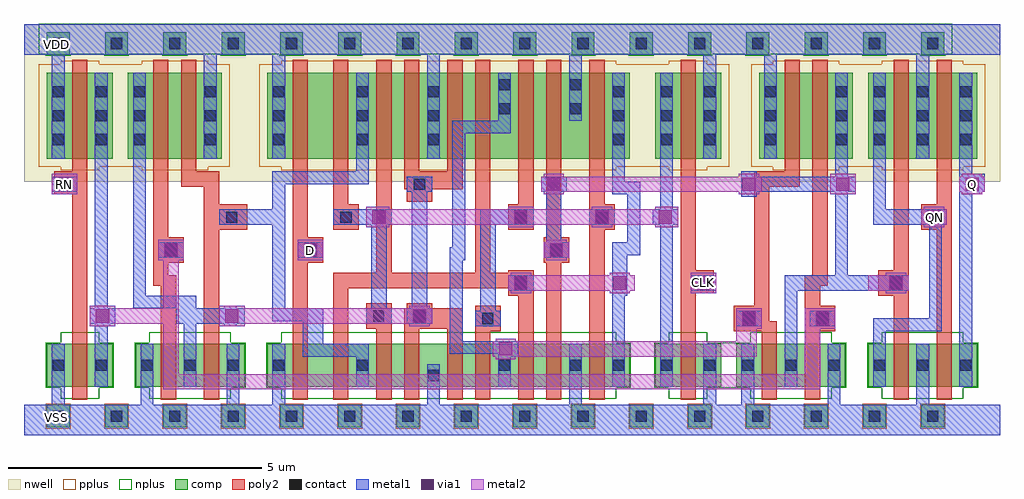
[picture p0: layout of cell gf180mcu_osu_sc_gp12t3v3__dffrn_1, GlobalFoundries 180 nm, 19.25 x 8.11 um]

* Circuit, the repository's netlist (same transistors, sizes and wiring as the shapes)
* Copyright 2022 Google LLC
*
* Licensed under the Apache License, Version 2.0 (the "License");
* you may not use this file except in compliance with the License.
* You may obtain a copy of the License at
*
*      http://www.apache.org/licenses/LICENSE-2.0
*
* Unless required by applicable law or agreed to in writing, software
* distributed under the License is distributed on an "AS IS" BASIS,
* WITHOUT WARRANTIES OR CONDITIONS OF ANY KIND, either express or implied.
* See the License for the specific language governing permissions and
* limitations under the License.

.inc "/import/yukari1/lrburle/OSU_180/char/techfiles/design.hspice"
.lib "/import/yukari1/lrburle/OSU_180/char/techfiles/sm141064.hspice" typical

.GLOBAL VDD
.GLOBAL VSS

.option scale=0.05u

.subckt gf180mcu_osu_sc_gp12t3v3__dffrn_1 D RN Q QN CLK
X0 VDD a_41_109 a_145_109 VDD pmos_3p3 w=34 l=6
X1 a_173_109 a_41_109 VDD VDD pmos_3p3 w=34 l=6
X2 a_122_14 a_122_81 VDD VDD pmos_3p3 w=34 l=6
X3 a_122_14 a_122_81 VSS VSS nmos_3p3 w=17 l=6
X4 VDD a_205_68 a_201_109 VDD pmos_3p3 w=34 l=6
X5 VSS a_205_68 QN VSS nmos_3p3 w=17 l=6
X6 a_62_98 a_122_81 a_112_109 VDD pmos_3p3 w=34 l=6
X7 a_145_109 a_122_14 a_62_98 VDD pmos_3p3 w=34 l=6
X8 Q QN VDD VDD pmos_3p3 w=34 l=6
X9 VDD a_205_68 QN VDD pmos_3p3 w=34 l=6
X10 a_145_19 a_122_81 a_62_98 VSS nmos_3p3 w=17 l=6
X11 VSS a_25_19 a_205_68 VSS nmos_3p3 w=17 l=6
X12 a_25_19 RN VDD VDD pmos_3p3 w=34 l=6
X13 a_41_109 a_25_19 VSS VSS nmos_3p3 w=17 l=6
X14 a_62_98 a_122_14 a_112_19 VSS nmos_3p3 w=17 l=6
X15 VDD CLK a_122_81 VDD pmos_3p3 w=34 l=6
X16 VSS CLK a_122_81 VSS nmos_3p3 w=17 l=6
X17 a_205_68 a_184_19 VSS VSS nmos_3p3 w=17 l=6
X18 a_112_109 D VDD VDD pmos_3p3 w=34 l=6
X19 a_25_19 RN VSS VSS nmos_3p3 w=17 l=6
X20 a_201_19 a_122_14 a_184_19 VSS nmos_3p3 w=17 l=6
X21 VSS a_205_68 a_201_19 VSS nmos_3p3 w=17 l=6
X22 Q QN VSS VSS nmos_3p3 w=17 l=6
X23 a_205_68 a_25_19 a_306_109 VDD pmos_3p3 w=34 l=6
X24 a_306_109 a_184_19 VDD VDD pmos_3p3 w=34 l=6
X25 VSS a_62_98 a_41_109 VSS nmos_3p3 w=17 l=6
X26 VDD a_62_98 a_57_109 VDD pmos_3p3 w=34 l=6
X27 a_112_19 D VSS VSS nmos_3p3 w=17 l=6
X28 a_57_109 a_25_19 a_41_109 VDD pmos_3p3 w=34 l=6
X29 a_173_19 a_41_109 VSS VSS nmos_3p3 w=17 l=6
X30 a_201_109 a_122_81 a_184_19 VDD pmos_3p3 w=34 l=6
X31 a_184_19 a_122_14 a_173_109 VDD pmos_3p3 w=34 l=6
X32 VSS a_41_109 a_145_19 VSS nmos_3p3 w=17 l=6
X33 a_184_19 a_122_81 a_173_19 VSS nmos_3p3 w=17 l=6
.ends

** hspice subcircuit dictionary

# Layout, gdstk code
import gdstk
lib = gdstk.Library(unit=1e-6, precision=1e-09)
def R(c, l, rs):  # rectangles x0, y0, x1, y1
    for r in rs: c.add(gdstk.rectangle(r[:2], r[2:], *l))
def A(c, l, x, y, w, h, nx, ny, dx, dy):  # array of equal rectangles
    R(c, l, [(x+i*dx, y+j*dy, x+i*dx+w, y+j*dy+h) for i in range(nx) for j in range(ny)])
nwell = (21, 0)
comp = (22, 0)
poly2 = (30, 0)
pplus = (31, 0)
nplus = (32, 0)
contact = (33, 0)
metal1 = (34, 0)
via1 = (35, 0)
metal2 = (36, 0)

gf180mcu_osu_sc_gp12t3v3 = lib.new_cell('gf180mcu_osu_sc_gp12t3v3__dffrn_1')
R(gf180mcu_osu_sc_gp12t3v3, nwell, [(0,5,19.25,8.1)])
A(gf180mcu_osu_sc_gp12t3v3, comp, 0.45, 0.15, 0.45, 0.45, 16, 2, 1.15, 7.35)
R(gf180mcu_osu_sc_gp12t3v3, comp, [(0.45,0.95,1.75,1.8), (2.2,0.95,4.35,1.8), (4.8,0.95,11.95,1.8), (12.45,0.95,13.75,1.8), (14.05,0.95,16.2,1.8), (16.65,0.95,18.8,1.8), (0.45,5.45,1.75,7.15), (2.05,5.45,3.9,7.15), (4.8,5.45,11.95,7.15), (12.45,5.45,13.75,7.15), (14.5,5.45,16.35,7.15), (16.65,5.45,18.8,7.15)])
R(gf180mcu_osu_sc_gp12t3v3, poly2, [(0.95,0.7,1.25,4.75), (2.7,0.7,3,2.95), (3.55,0.7,3.85,4.05), (5.3,0.7,5.6,3.4), (6.1,0.7,6.4,2.9), (6.95,0.7,7.25,2.1), (7.5,0.7,7.8,2.1), (8.35,0.7,8.65,2.1), (8.9,0.7,9.2,2.05), (9.75,0.7,10.05,2.75), (10.3,0.7,10.6,3.4), (11.15,0.7,11.45,4.05), (12.95,0.7,13.25,2.8), (14.55,0.7,14.85,2.05), (15.4,0.7,15.7,2.05), (17.15,0.7,17.45,2.75), (18,0.7,18.3,4.05), (8.9,2.05,9.4,2.55), (14,2.05,14.85,2.25), (15.4,2.05,16,2.55), (6.75,2.1,7.25,2.6), (7.5,2.1,8.65,2.5), (14,2.25,14.7,2.55), (7.55,2.5,8.05,2.6), (14.4,2.55,14.7,4.9), (15.4,2.55,15.7,2.95), (9.55,2.75,10.05,2.9), (16.85,2.75,17.45,3.25), (12.95,2.8,13.6,3.25), (6.1,2.9,10.05,3.2), (2.55,2.95,3,3.15), (15.4,2.95,15.85,3.15), (2.55,3.15,2.85,3.4), (15.55,3.15,15.85,7.4), (6.95,3.2,7.25,7.4), (8.9,3.2,9.2,7.4), (9.55,3.2,10.05,3.25), (12.95,3.25,13.25,7.4), (17.15,3.25,17.45,7.4), (2.55,3.4,3.15,3.9), (5.3,3.4,5.9,3.9), (10.25,3.4,10.75,3.9), (2.55,3.9,2.85,7.4), (5.3,3.9,5.6,7.4), (10.3,3.9,10.6,7.4), (3.55,4.05,4.4,4.55), (6.1,4.05,6.6,4.55), (9.55,4.05,10.05,4.55), (11.15,4.05,11.65,4.55), (17.7,4.05,18.3,4.55), (3.55,4.55,3.85,4.9), (6.1,4.55,6.4,7.4), (9.75,4.55,10.05,7.4), (11.15,4.55,11.45,7.4), (18,4.55,18.3,7.4), (7.55,4.6,8.05,4.85), (0.6,4.75,1.25,5.2), (7.5,4.85,8.65,5.2), (3.1,4.9,3.85,5.2), (14.4,4.9,15.3,5.2), (0.95,5.2,1.25,7.4), (3.1,5.2,3.4,7.4), (7.5,5.2,7.8,7.4), (8.35,5.2,8.65,7.4), (15,5.2,15.3,7.4)])
A(gf180mcu_osu_sc_gp12t3v3, pplus, 0.43, 0.13, 0.49, 0.49, 16, 1, 1.15, 0)
R(gf180mcu_osu_sc_gp12t3v3, pplus, [(0.72,5.22,1.48,5.29), (2.32,5.22,3.63,5.29), (5.07,5.22,11.68,5.29), (12.72,5.22,13.48,5.29), (14.77,5.22,16.08,5.29), (16.92,5.22,18.53,5.29), (0.29,5.29,4.06,7.31), (4.64,5.29,13.91,7.31), (14.34,5.29,18.96,7.31), (0.72,7.31,1.48,7.38), (2.32,7.31,3.63,7.38), (5.07,7.31,11.68,7.38), (12.72,7.31,13.48,7.38), (14.77,7.31,16.08,7.38), (16.92,7.31,18.53,7.38)])
A(gf180mcu_osu_sc_gp12t3v3, nplus, 0.43, 7.48, 0.49, 0.03, 16, 1, 1.15, 0)
R(gf180mcu_osu_sc_gp12t3v3, nplus, [(0.72,0.72,1.48,0.93), (2.47,0.72,4.08,0.93), (5.07,0.72,11.68,0.93), (12.72,0.72,13.48,0.93), (14.32,0.72,15.93,0.93), (16.92,0.72,18.53,0.93), (0.43,0.93,1.77,1.82), (2.18,0.93,4.37,1.82), (4.78,0.93,11.97,1.82), (12.43,0.93,16.22,1.82), (16.63,0.93,18.82,1.82), (0.72,1.82,1.48,2.03), (2.47,1.82,4.08,2.03), (5.07,1.82,11.68,2.03), (12.72,1.82,13.48,2.03), (14.32,1.82,15.93,2.03), (16.92,1.82,18.53,2.03), (0.29,7.51,18.31,8.11)])
A(gf180mcu_osu_sc_gp12t3v3, contact, 0.565, 0.265, 0.22, 0.22, 16, 2, 1.15, 7.35)
A(gf180mcu_osu_sc_gp12t3v3, contact, 2.315, 1.265, 0.22, 0.22, 3, 1, 0.85, 0)
A(gf180mcu_osu_sc_gp12t3v3, contact, 14.165, 1.265, 0.22, 0.22, 3, 1, 0.85, 0)
A(gf180mcu_osu_sc_gp12t3v3, contact, 16.765, 1.265, 0.22, 0.22, 3, 2, 0.85, 4.455)
A(gf180mcu_osu_sc_gp12t3v3, contact, 0.565, 5.72, 0.22, 0.22, 1, 3, 0, 0.47)
A(gf180mcu_osu_sc_gp12t3v3, contact, 1.415, 5.72, 0.22, 0.22, 1, 3, 0, 0.47)
A(gf180mcu_osu_sc_gp12t3v3, contact, 2.165, 5.72, 0.22, 0.22, 1, 3, 0, 0.47)
A(gf180mcu_osu_sc_gp12t3v3, contact, 3.565, 5.72, 0.22, 0.22, 1, 3, 0, 0.47)
A(gf180mcu_osu_sc_gp12t3v3, contact, 4.915, 5.72, 0.22, 0.22, 1, 3, 0, 0.47)
A(gf180mcu_osu_sc_gp12t3v3, contact, 6.565, 5.72, 0.22, 0.22, 1, 3, 0, 0.47)
A(gf180mcu_osu_sc_gp12t3v3, contact, 7.965, 5.72, 0.22, 0.22, 1, 3, 0, 0.47)
A(gf180mcu_osu_sc_gp12t3v3, contact, 11.615, 5.72, 0.22, 0.22, 1, 3, 0, 0.47)
A(gf180mcu_osu_sc_gp12t3v3, contact, 12.565, 5.72, 0.22, 0.22, 1, 3, 0, 0.47)
A(gf180mcu_osu_sc_gp12t3v3, contact, 13.415, 5.72, 0.22, 0.22, 1, 3, 0, 0.47)
A(gf180mcu_osu_sc_gp12t3v3, contact, 14.615, 5.72, 0.22, 0.22, 1, 3, 0, 0.47)
A(gf180mcu_osu_sc_gp12t3v3, contact, 16.015, 5.72, 0.22, 0.22, 1, 3, 0, 0.47)
A(gf180mcu_osu_sc_gp12t3v3, contact, 16.765, 6.19, 0.22, 0.22, 3, 2, 0.85, 0.47)
R(gf180mcu_osu_sc_gp12t3v3, contact, [(7.965,1.065,8.185,1.285), (0.565,1.265,0.785,1.485), (1.415,1.265,1.635,1.485), (4.915,1.265,5.135,1.485), (6.565,1.265,6.785,1.485), (9.365,1.265,9.585,1.485), (10.765,1.265,10.985,1.485), (11.615,1.265,11.835,1.485), (12.565,1.265,12.785,1.485), (13.415,1.265,13.635,1.485), (9.04,2.19,9.26,2.41), (14.19,2.19,14.41,2.41), (15.64,2.19,15.86,2.41), (6.89,2.24,7.11,2.46), (7.69,2.24,7.91,2.46), (9.69,2.89,9.91,3.11), (17.09,2.89,17.31,3.11), (13.265,2.915,13.485,3.135), (2.79,3.54,3.01,3.76), (5.54,3.54,5.76,3.76), (10.39,3.54,10.61,3.76), (3.99,4.19,4.21,4.41), (6.24,4.19,6.46,4.41), (9.69,4.19,9.91,4.41), (11.29,4.19,11.51,4.41), (17.84,4.19,18.06,4.41), (7.69,4.84,7.91,5.06), (0.715,4.865,0.935,5.085), (9.365,6.33,9.585,6.55), (10.765,6.33,10.985,6.55), (9.365,6.8,9.585,7.02), (10.765,6.8,10.985,7.02)])
R(gf180mcu_osu_sc_gp12t3v3, metal1, [(0,0,19.25,0.6), (0.55,0.6,0.8,1.8), (2.3,0.6,2.55,1.8), (4,0.6,4.25,1.8), (4.9,0.6,5.15,1.8), (7.95,0.6,8.2,1.4), (10.75,0.6,11,1.8), (13.4,0.6,13.65,1.8), (14.15,0.6,14.4,1.8), (15.85,0.6,16.1,1.8), (17.6,0.6,17.85,1.8), (1.4,0.95,1.65,2.15), (3.15,0.95,3.4,2.2), (6.55,0.95,6.8,1.55), (9.35,0.95,9.6,1.55), (11.6,0.95,11.85,2.75), (12.55,0.95,12.8,4.15), (15,0.95,15.25,2.85), (16.75,0.95,17,2.05), (18.45,0.95,18.7,4.75), (5.5,1.55,6.8,1.8), (9.35,1.55,9.75,1.6), (8.4,1.6,9.75,1.85), (5.5,1.8,5.9,2.25), (8.4,1.85,8.65,3.45), (16.75,2.05,18.1,2.3), (1.4,2.15,1.7,2.2), (3.95,2.15,4.2,2.2), (8.9,2.15,9.4,2.45), (14.05,2.15,14.55,2.45), (15.5,2.15,16,2.45), (1.3,2.2,1.8,2.5), (3,2.2,4.35,2.5), (6.75,2.2,7.25,2.5), (7.55,2.2,8.05,2.5), (4.9,2.25,5.9,2.5), (17.85,2.3,18.1,4.15), (9,2.45,9.3,4.15), (1.4,2.5,1.65,7.15), (2.15,2.5,3.4,2.75), (3.95,2.5,4.2,2.55), (4.9,2.5,5.15,4.15), (6.85,2.5,7.15,4.15), (7.65,2.5,7.95,4.8), (2.15,2.75,2.4,7.15), (11.6,2.75,11.9,3.55), (9.55,2.85,10.05,3.15), (13.15,2.85,13.65,3.15), (15,2.85,17.45,3.15), (16,3.15,16.25,4.8), (8.4,3.45,8.7,3.7), (2.65,3.5,3.15,3.8), (5.4,3.5,5.9,3.8), (10.25,3.5,10.75,3.8), (11.6,3.55,12.15,3.8), (8.45,3.7,8.7,5.95), (10.3,3.8,10.6,4.8), (11.9,3.8,12.15,4.75), (3.85,4.15,5.15,4.45), (6.1,4.15,7.25,4.45), (9,4.15,10.05,4.45), (11.15,4.15,11.65,4.45), (12.4,4.15,12.9,4.45), (16.75,4.15,18.2,4.45), (4.9,4.45,5.15,4.95), (12.55,4.45,12.8,7.15), (16.75,4.45,17,7.15), (14.15,4.7,14.45,4.8), (11.6,4.75,12.15,5), (18.45,4.75,18.9,4.8), (0.55,4.8,1.05,5.1), (7.55,4.8,8.05,5.1), (10.2,4.8,10.7,5.1), (14.15,4.8,16.4,5.1), (18.45,4.8,18.95,5.15), (4.9,4.95,6.8,5.2), (11.6,5,11.85,7.15), (14.15,5.1,14.45,5.2), (16,5.1,16.25,7.15), (18.45,5.15,18.7,7.15), (6.55,5.2,6.8,7.15), (0.55,5.45,0.8,7.5), (3.55,5.45,3.8,7.5), (4.9,5.45,5.15,7.5), (7.95,5.45,8.2,7.5), (13.4,5.45,13.65,7.5), (14.6,5.45,14.85,7.5), (17.6,5.45,17.85,7.5), (8.45,5.95,9.6,6.2), (9.35,6.2,9.6,7.15), (10.75,6.2,11,7.5), (0,7.5,19.25,8.1)])
R(gf180mcu_osu_sc_gp12t3v3, via1, [(9.37,1.57,9.63,1.83), (14.17,2.17,14.43,2.43), (15.62,2.17,15.88,2.43), (1.42,2.22,1.68,2.48), (3.97,2.22,4.23,2.48), (7.67,2.22,7.93,2.48), (9.67,2.87,9.93,3.13), (11.62,2.87,11.88,3.13), (13.27,2.87,13.53,3.13), (17.07,2.87,17.33,3.13), (2.77,3.52,3.03,3.78), (5.52,3.52,5.78,3.78), (10.37,3.52,10.63,3.78), (6.87,4.17,7.13,4.43), (9.67,4.17,9.93,4.43), (11.27,4.17,11.53,4.43), (12.52,4.17,12.78,4.43), (17.82,4.17,18.08,4.43), (0.67,4.82,0.93,5.08), (10.32,4.82,10.58,5.08), (14.17,4.82,14.43,5.08), (16.02,4.82,16.28,5.08), (18.57,4.82,18.83,5.08)])
R(gf180mcu_osu_sc_gp12t3v3, metal2, [(2.75,0.9,15.7,1.2), (2.75,1.2,3.05,2.2), (15.4,1.2,15.7,2.1), (9.3,1.5,9.7,1.55), (9.25,1.55,14.45,1.85), (9.3,1.85,9.7,1.9), (14.05,1.85,14.45,2.1), (14.05,2.1,14.55,2.5), (15.4,2.1,16,2.5), (1.3,2.15,1.8,2.2), (3.85,2.15,4.35,2.2), (7.6,2.15,8,2.2), (1.3,2.2,3.05,2.5), (3.85,2.2,8.05,2.5), (1.3,2.5,1.8,2.55), (2.75,2.5,3.05,3.45), (3.85,2.5,4.35,2.55), (7.6,2.5,8,2.55), (9.6,2.8,10,2.85), (11.55,2.8,11.95,2.85), (13.15,2.8,13.65,3.2), (17,2.8,17.4,2.85), (9.55,2.85,12.05,3.15), (16.65,2.85,17.45,3.15), (9.6,3.15,10,3.2), (11.55,3.15,11.95,3.2), (17,3.15,17.4,3.2), (2.65,3.45,3.15,3.85), (5.4,3.45,5.9,3.85), (10.3,3.45,10.7,3.5), (10.25,3.5,10.75,3.8), (10.3,3.8,10.7,3.85), (6.75,4.1,7.2,4.15), (9.55,4.1,10.05,4.15), (11.2,4.1,11.6,4.15), (12.45,4.1,12.9,4.15), (17.75,4.1,18.15,4.15), (6.75,4.15,12.9,4.45), (17.7,4.15,18.2,4.45), (6.75,4.45,7.2,4.5), (9.55,4.45,10.05,4.5), (11.2,4.45,11.6,4.5), (12.45,4.45,12.9,4.5), (17.75,4.45,18.15,4.5), (0.55,4.75,1.05,5.15), (10.25,4.75,10.65,4.8), (14.1,4.75,14.5,4.8), (15.9,4.75,16.4,5.15), (18.5,4.75,18.9,4.8), (10.2,4.8,14.55,5.1), (18.45,4.8,18.95,5.1), (10.25,5.1,10.65,5.15), (14.1,5.1,14.5,5.15), (18.5,5.1,18.9,5.15)])
gf180mcu_osu_sc_gp12t3v3.add(gdstk.Label('VDD', (0.65,7.7), layer=34, texttype=0))
gf180mcu_osu_sc_gp12t3v3.add(gdstk.Label('VSS', (0.65,0.35), layer=34, texttype=0))
gf180mcu_osu_sc_gp12t3v3.add(gdstk.Label('D', (5.65,3.65), layer=36, texttype=10))
gf180mcu_osu_sc_gp12t3v3.add(gdstk.Label('RN', (0.8,4.95), layer=36, texttype=10))
gf180mcu_osu_sc_gp12t3v3.add(gdstk.Label('Q', (18.7,4.95), layer=36, texttype=10))
gf180mcu_osu_sc_gp12t3v3.add(gdstk.Label('QN', (17.95,4.3), layer=36, texttype=10))
gf180mcu_osu_sc_gp12t3v3.add(gdstk.Label('CLK', (13.4,3), layer=36, texttype=10))

lib.write_gds('gf180mcu_osu_sc_gp12t3v3__dffrn_1.gds')
